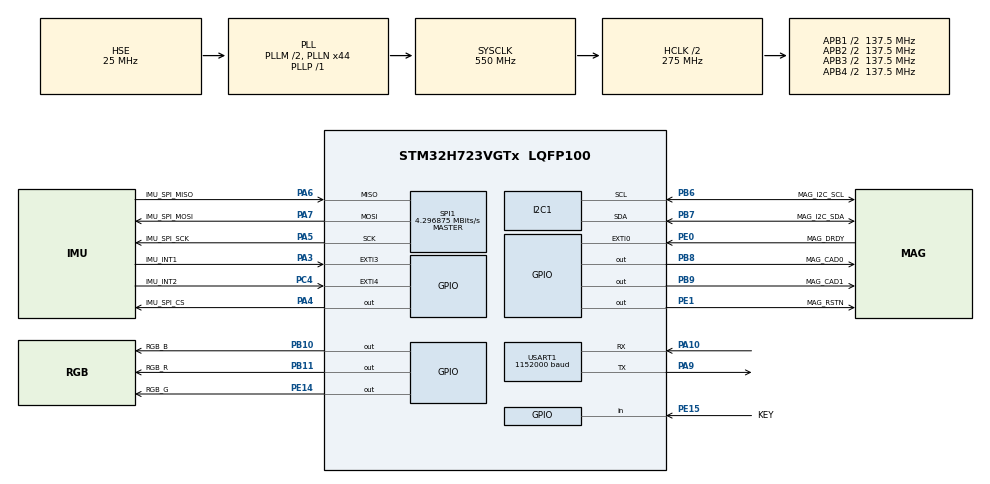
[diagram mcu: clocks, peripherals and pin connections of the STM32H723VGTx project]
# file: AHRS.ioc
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CORTEX_M7.default_mode_Activation=1
Dma.Request0=SPI1_RX
Dma.SPI1_RX.0.Direction=DMA_PERIPH_TO_MEMORY
Dma.SPI1_RX.0.EventEnable=DISABLE
Dma.SPI1_RX.0.FIFOMode=DMA_FIFOMODE_DISABLE
Dma.SPI1_RX.0.Instance=DMA1_Stream0
Dma.SPI1_RX.0.MemDataAlignment=DMA_MDATAALIGN_BYTE
Dma.SPI1_RX.0.MemInc=DMA_MINC_ENABLE
Dma.SPI1_RX.0.Mode=DMA_NORMAL
Dma.SPI1_RX.0.PeriphDataAlignment=DMA_PDATAALIGN_BYTE
Dma.SPI1_RX.0.PeriphInc=DMA_PINC_DISABLE
Dma.SPI1_RX.0.Polarity=HAL_DMAMUX_REQ_GEN_RISING
Dma.SPI1_RX.0.Priority=DMA_PRIORITY_LOW
Dma.SPI1_RX.0.RequestNumber=1
Dma.SPI1_RX.0.SignalID=NONE
Dma.SPI1_RX.0.SyncEnable=DISABLE
Dma.SPI1_RX.0.SyncPolarity=HAL_DMAMUX_SYNC_NO_EVENT
Dma.SPI1_RX.0.SyncRequestNumber=1
Dma.SPI1_RX.0.SyncSignalID=NONE
I2C1.Timing=0x60404E72
Mcu.Family=STM32H7
Mcu.Name=STM32H723VGTx
Mcu.Package=LQFP100
NVIC.DMA1_Stream0_IRQn=true\:0\:0\:false\:false\:true\:false\:true\:true
NVIC.EXTI0_IRQn=true\:0\:0\:false\:false\:true\:true\:true\:true
NVIC.EXTI3_IRQn=true\:0\:0\:false\:false\:true\:true\:true\:true
NVIC.PriorityGroup=NVIC_PRIORITYGROUP_4
NVIC.SPI1_IRQn=true\:0\:0\:false\:false\:true\:false\:true\:true
NVIC.TIM2_IRQn=true\:0\:0\:false\:false\:true\:true\:true\:true
PA10.Mode=Asynchronous
PA10.Signal=USART1_RX
PA3.GPIO_Label=IMU_INT1
PA3.GPIO_ModeDefaultEXTI=GPIO_MODE_IT_FALLING
PA3.GPIO_PuPd=GPIO_PULLUP
PA3.Signal=GPXTI3
PA4.GPIO_Label=IMU_SPI_CS
PA4.GPIO_PuPd=GPIO_PULLUP
PA4.GPIO_Speed=GPIO_SPEED_FREQ_HIGH
PA4.PinState=GPIO_PIN_SET
PA4.Signal=GPIO_Output
PA5.GPIO_Label=IMU_SPI_SCK
PA5.GPIO_Speed=GPIO_SPEED_FREQ_VERY_HIGH
PA5.Mode=Full_Duplex_Master
PA5.Signal=SPI1_SCK
PA6.GPIO_Label=IMU_SPI_MISO
PA6.GPIO_Speed=GPIO_SPEED_FREQ_VERY_HIGH
PA6.Mode=Full_Duplex_Master
PA6.Signal=SPI1_MISO
PA7.GPIO_Label=IMU_SPI_MOSI
PA7.GPIO_Speed=GPIO_SPEED_FREQ_VERY_HIGH
PA7.Mode=Full_Duplex_Master
PA7.Signal=SPI1_MOSI
PA9.Mode=Asynchronous
PA9.Signal=USART1_TX
PB10.GPIO_Label=RGB_B
PB10.Signal=GPIO_Output
PB11.GPIO_Label=RGB_R
PB11.Signal=GPIO_Output
PB6.GPIO_Label=MAG_I2C_SCL
PB6.Mode=I2C
PB6.Signal=I2C1_SCL
PB7.GPIO_Label=MAG_I2C_SDA
PB7.Mode=I2C
PB7.Signal=I2C1_SDA
PB8.GPIO_Label=MAG_CAD0
PB8.Signal=GPIO_Output
PB9.GPIO_Label=MAG_CAD1
PB9.PinState=GPIO_PIN_SET
PB9.Signal=GPIO_Output
PC4.GPIO_Label=IMU_INT2
PC4.GPIO_ModeDefaultEXTI=GPIO_MODE_IT_FALLING
PC4.GPIO_PuPd=GPIO_PULLUP
PC4.Signal=GPXTI4
PE0.GPIO_Label=MAG_DRDY
PE0.GPIO_PuPd=GPIO_PULLDOWN
PE0.Signal=GPXTI0
PE1.GPIO_Label=MAG_RSTN
PE1.PinState=GPIO_PIN_SET
PE1.Signal=GPIO_Output
PE14.GPIO_Label=RGB_G
PE14.Signal=GPIO_Output
PE15.GPIO_Label=KEY
PE15.GPIO_PuPd=GPIO_PULLDOWN
PE15.Signal=GPIO_Input
PH0-OSC_IN.Mode=HSE-External-Oscillator
PH0-OSC_IN.Signal=RCC_OSC_IN
PH1-OSC_OUT.Mode=HSE-External-Oscillator
PH1-OSC_OUT.Signal=RCC_OSC_OUT
ProjectManager.HeapSize=0x200
ProjectManager.StackSize=0x400
ProjectManager.TargetToolchain=STM32CubeIDE
RCC.ADCFreq_Value=187500000
RCC.APB1Freq_Value=137500000
RCC.APB2Freq_Value=137500000
RCC.APB3Freq_Value=137500000
RCC.APB4Freq_Value=137500000
RCC.CKPERSourceSelection=RCC_CLKPSOURCE_HSE
RCC.CortexFreq_Value=550000000
RCC.D1PPRE=RCC_APB3_DIV2
RCC.D2PPRE1=RCC_APB1_DIV2
RCC.D2PPRE2=RCC_APB2_DIV2
RCC.D3PPRE=RCC_APB4_DIV2
RCC.DIVM1=2
RCC.DIVM2=2
RCC.DIVN1=44
RCC.DIVN2=15
RCC.DIVP1=1
RCC.DIVP2=1
RCC.DIVQ1=4
RCC.HCLKFreq_Value=275000000
RCC.HPRE=RCC_HCLK_DIV2
RCC.PLL2FRACN=0
RCC.PLLFRACN=0
RCC.PLLSourceVirtual=RCC_PLLSOURCE_HSE
RCC.SYSCLKFreq_VALUE=550000000
RCC.SYSCLKSource=RCC_SYSCLKSOURCE_PLLCLK
RCC.USBFreq_Value=137500000
SPI1.BaudRatePrescaler=SPI_BAUDRATEPRESCALER_32
SPI1.CLKPhase=SPI_PHASE_1EDGE
SPI1.CLKPolarity=SPI_POLARITY_LOW
SPI1.CalculateBaudRate=4.296875 MBits/s
SPI1.DataSize=SPI_DATASIZE_8BIT
SPI1.Direction=SPI_DIRECTION_2LINES
SPI1.Mode=SPI_MODE_MASTER
SPI1.NSSPMode=SPI_NSS_PULSE_DISABLE
SPI1.VirtualType=VM_MASTER
TIM2.Prescaler=274
USART1.BaudRate=1152000
USART1.VirtualMode-Asynchronous=VM_ASYNC
VP_MEMORYMAP_VS_MEMORYMAP.Mode=CurAppReg
VP_TIM2_VS_ClockSourceINT.Mode=Internal
board=custom

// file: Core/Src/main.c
/* USER CODE BEGIN Header */
/**
  ******************************************************************************
  * @file           : main.c
  * @brief          : Main program body
  ******************************************************************************
  * @attention
  *
  * Copyright (c) 2026 STMicroelectronics.
  * All rights reserved.
  *
  * This software is licensed under terms that can be found in the LICENSE file
  * in the root directory of this software component.
  * If no LICENSE file comes with this software, it is provided AS-IS.
  *
  ******************************************************************************
  */
/* USER CODE END Header */
#include "main.h"
#include "dma.h"
#include "i2c.h"
#include "spi.h"
#include "tim.h"
#include "usart.h"
#include "gpio.h"

/* USER CODE BEGIN Includes */
#include <stdio.h>
#include "scheduler.h"
#include "SystemPort.h"
#include "scheduler_app_tasks.h"
#include "TimeBase.h"
/* USER CODE END Includes */

void SystemClock_Config(void);
static void MPU_Config(void);

int main(void)
{

  /* MPU Configuration--------------------------------------------------------*/
  MPU_Config();

  /* MCU Configuration--------------------------------------------------------*/

  /* Reset of all peripherals, Initializes the Flash interface and the Systick. */
  HAL_Init();

  /* Configure the system clock */
  SystemClock_Config();

  /* Initialize all configured peripherals */
  MX_GPIO_Init();
  MX_DMA_Init();
  MX_SPI1_Init();
  MX_USART1_UART_Init();
  MX_I2C1_Init();
  MX_TIM2_Init();
  /* USER CODE BEGIN 2 */
  TimeBase_Start();
  // UART output via __io_putchar (Lib/Printf/Printf.c)
  printf("ICM42688P hardware bring-up start\r\n");

  // ── Generic Scheduler 接入 ──
  {
      static const SchedulerPort scheduler_port = {
          .get_time_ms    = SystemPort_GetMillis,
          .get_time_us    = SystemPort_GetMicros,
          .enter_critical = SystemPort_EnterCritical,
          .exit_critical  = SystemPort_ExitCritical,
      };

      Scheduler_Init(&scheduler_port);
      App_Init();
      SchedulerAppTasks_RegisterAll();
  }
  /* USER CODE END 2 */

  /* Infinite loop */
  /* USER CODE BEGIN WHILE */
  while (1)
  {
    Scheduler_RunOnce();
    /* USER CODE END WHILE */

  }
}

void SystemClock_Config(void)
{
  RCC_OscInitTypeDef RCC_OscInitStruct = {0};
  RCC_ClkInitTypeDef RCC_ClkInitStruct = {0};

  /** Supply configuration update enable
  */
  HAL_PWREx_ConfigSupply(PWR_LDO_SUPPLY);

  /** Configure the main internal regulator output voltage
  */
  __HAL_PWR_VOLTAGESCALING_CONFIG(PWR_REGULATOR_VOLTAGE_SCALE0);

  while(!__HAL_PWR_GET_FLAG(PWR_FLAG_VOSRDY)) {}

  /** Initializes the RCC Oscillators according to the specified parameters
  * in the RCC_OscInitTypeDef structure.
  */
  RCC_OscInitStruct.OscillatorType = RCC_OSCILLATORTYPE_HSE;
  RCC_OscInitStruct.HSEState = RCC_HSE_ON;
  RCC_OscInitStruct.PLL.PLLState = RCC_PLL_ON;
  RCC_OscInitStruct.PLL.PLLSource = RCC_PLLSOURCE_HSE;
  RCC_OscInitStruct.PLL.PLLM = 2;
  RCC_OscInitStruct.PLL.PLLN = 44;
  RCC_OscInitStruct.PLL.PLLP = 1;
  RCC_OscInitStruct.PLL.PLLQ = 4;
  RCC_OscInitStruct.PLL.PLLR = 2;
  RCC_OscInitStruct.PLL.PLLRGE = RCC_PLL1VCIRANGE_3;
  RCC_OscInitStruct.PLL.PLLVCOSEL = RCC_PLL1VCOWIDE;
  RCC_OscInitStruct.PLL.PLLFRACN = 0;
  if (HAL_RCC_OscConfig(&RCC_OscInitStruct) != HAL_OK)
  {
    Error_Handler();
  }

  /** Initializes the CPU, AHB and APB buses clocks
  */
  RCC_ClkInitStruct.ClockType = RCC_CLOCKTYPE_HCLK|RCC_CLOCKTYPE_SYSCLK
                              |RCC_CLOCKTYPE_PCLK1|RCC_CLOCKTYPE_PCLK2
                              |RCC_CLOCKTYPE_D3PCLK1|RCC_CLOCKTYPE_D1PCLK1;
  RCC_ClkInitStruct.SYSCLKSource = RCC_SYSCLKSOURCE_PLLCLK;
  RCC_ClkInitStruct.SYSCLKDivider = RCC_SYSCLK_DIV1;
  RCC_ClkInitStruct.AHBCLKDivider = RCC_HCLK_DIV2;
  RCC_ClkInitStruct.APB3CLKDivider = RCC_APB3_DIV2;
  RCC_ClkInitStruct.APB1CLKDivider = RCC_APB1_DIV2;
  RCC_ClkInitStruct.APB2CLKDivider = RCC_APB2_DIV2;
  RCC_ClkInitStruct.APB4CLKDivider = RCC_APB4_DIV2;

  if (HAL_RCC_ClockConfig(&RCC_ClkInitStruct, FLASH_LATENCY_3) != HAL_OK)
  {
    Error_Handler();
  }
}

 /* MPU Configuration */

void MPU_Config(void)
{
  MPU_Region_InitTypeDef MPU_InitStruct = {0};

  /* Disables the MPU */
  HAL_MPU_Disable();

  /** Initializes and configures the Region and the memory to be protected
  */
  MPU_InitStruct.Enable = MPU_REGION_ENABLE;
  MPU_InitStruct.Number = MPU_REGION_NUMBER0;
  MPU_InitStruct.BaseAddress = 0x0;
  MPU_InitStruct.Size = MPU_REGION_SIZE_4GB;
  MPU_InitStruct.SubRegionDisable = 0x87;
  MPU_InitStruct.TypeExtField = MPU_TEX_LEVEL0;
  MPU_InitStruct.AccessPermission = MPU_REGION_NO_ACCESS;
  MPU_InitStruct.DisableExec = MPU_INSTRUCTION_ACCESS_DISABLE;
  MPU_InitStruct.IsShareable = MPU_ACCESS_SHAREABLE;
  MPU_InitStruct.IsCacheable = MPU_ACCESS_NOT_CACHEABLE;
  MPU_InitStruct.IsBufferable = MPU_ACCESS_NOT_BUFFERABLE;

  HAL_MPU_ConfigRegion(&MPU_InitStruct);
  /* Enables the MPU */
  HAL_MPU_Enable(MPU_PRIVILEGED_DEFAULT);

}

void Error_Handler(void)
{
  __disable_irq();
  while (1)
  {
  }
}
